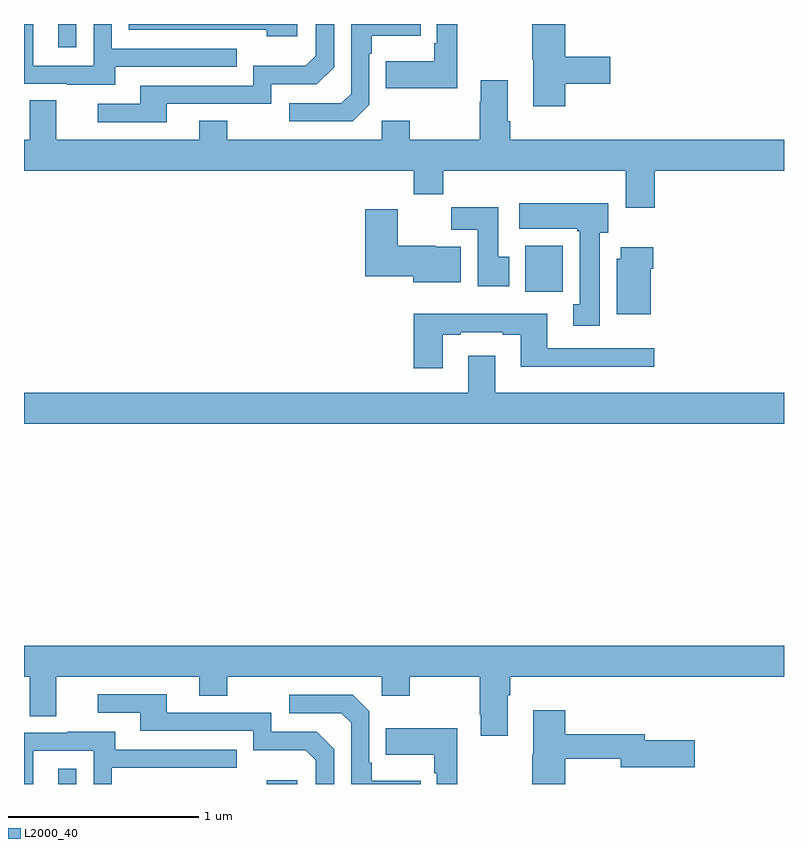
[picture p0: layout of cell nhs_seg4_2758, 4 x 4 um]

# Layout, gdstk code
import gdstk
lib = gdstk.Library(unit=1e-6, precision=1e-09)
def R(c, l, rs):  # rectangles x0, y0, x1, y1
    for r in rs: c.add(gdstk.rectangle(r[:2], r[2:], *l))
def P(c, l, *ps):  # polygons
    for p in ps: c.add(gdstk.Polygon(p, *l))
L2000_40 = (2000, 40)

nhs_seg4_2758 = lib.new_cell('nhs_seg4_2758')
R(nhs_seg4_2758, L2000_40, [(255.179,818.9,255.276,818.98), (256.277,818.9,256.438,818.92), (257.639,821.492,257.836,821.734), (255.179,822.777,255.276,822.9)])
P(nhs_seg4_2758, L2000_40, [(257.849,822.586),(258.085,822.586),(258.085,822.728),(257.849,822.728),(257.849,822.9),(257.674,822.9),(257.674,822.711),(257.681,822.711),(257.681,822.468),(257.849,822.468)],
  [(255.481,822.675),(256.121,822.675),(256.121,822.771),(255.462,822.771),(255.462,822.9),(255.366,822.9),(255.366,822.681),(255.048,822.681),(255.048,822.9),(255,822.9),(255,822.585),(255.227,822.585),(255.227,822.581),(255.481,822.581)],
  [(255.751,822.48),(256.302,822.48),(256.302,822.582),(256.542,822.582),(256.632,822.672),(256.632,822.9),(256.536,822.9),(256.536,822.732),(256.483,822.679),(256.206,822.679),(256.206,822.576),(255.611,822.576),(255.611,822.48),(255.387,822.48),(255.387,822.384),(255.751,822.384)],
  [(257.281,822.9),(257.172,822.9),(257.172,822.799),(257.16,822.799),(257.16,822.703),(256.903,822.703),(256.903,822.563),(257.281,822.563)],
  [(256.818,822.474),(256.818,822.743),(256.831,822.743),(256.831,822.839),(257.087,822.839),(257.087,822.9),(256.722,822.9),(256.722,822.534),(256.671,822.483),(256.395,822.483),(256.395,822.387),(256.731,822.387)],
  [(256.438,822.9),(255.552,822.9),(255.552,822.87),(256.277,822.87),(256.277,822.836),(256.438,822.836)],
  [(258.32,822.128),(259,822.128),(259,822.292),(257.558,822.292),(257.558,822.388),(257.545,822.388),(257.545,822.604),(257.405,822.604),(257.405,822.491),(257.398,822.491),(257.398,822.292),(257.031,822.292),(257.031,822.391),(256.884,822.391),(256.884,822.292),(256.071,822.292),(256.071,822.391),(255.923,822.391),(255.923,822.292),(255.169,822.292),(255.169,822.5),(255.029,822.5),(255.029,822.292),(255,822.292),(255,822.128),(257.051,822.128),(257.051,822.004),(257.207,822.004),(257.207,822.128),(258.167,822.128),(258.167,821.934),(258.32,821.934)],
  [(258.031,821.802),(258.076,821.802),(258.076,821.956),(257.607,821.956),(257.607,821.822),(257.911,821.822),(257.911,821.809),(257.924,821.809),(257.924,821.426),(257.891,821.426),(257.891,821.313),(258.031,821.313)],
  [(257.554,821.676),(257.497,821.676),(257.497,821.935),(257.248,821.935),(257.248,821.816),(257.387,821.816),(257.387,821.52),(257.554,821.52)],
  [(257.299,821.728),(257.166,821.728),(257.166,821.734),(256.966,821.734),(256.966,821.926),(256.796,821.926),(256.796,821.573),(257.048,821.573),(257.048,821.54),(257.299,821.54)],
  [(258.298,821.612),(258.311,821.612),(258.311,821.725),(258.14,821.725),(258.14,821.664),(258.119,821.664),(258.119,821.372),(258.298,821.372)],
  [(257.203,821.265),(257.299,821.265),(257.299,821.277),(257.519,821.277),(257.519,821.265),(257.615,821.265),(257.615,821.096),(258.316,821.096),(258.316,821.193),(257.755,821.193),(257.755,821.374),(257.051,821.374),(257.051,821.088),(257.203,821.088)],
  [(259,820.96),(257.479,820.96),(257.479,821.155),(257.339,821.155),(257.339,820.96),(255,820.96),(255,820.796),(259,820.796)],
  [(255,819.464),(255.029,819.464),(255.029,819.256),(255.169,819.256),(255.169,819.464),(255.923,819.464),(255.923,819.365),(256.071,819.365),(256.071,819.464),(256.884,819.464),(256.884,819.365),(257.031,819.365),(257.031,819.464),(257.398,819.464),(257.398,819.265),(257.405,819.265),(257.405,819.153),(257.545,819.153),(257.545,819.368),(257.558,819.368),(257.558,819.464),(259,819.464),(259,819.628),(255,819.628)],
  [(256.632,819.084),(256.542,819.174),(256.302,819.174),(256.302,819.276),(255.751,819.276),(255.751,819.372),(255.387,819.372),(255.387,819.276),(255.611,819.276),(255.611,819.18),(256.206,819.18),(256.206,819.077),(256.483,819.077),(256.536,819.024),(256.536,818.9),(256.632,818.9)],
  [(257.087,818.917),(256.831,818.917),(256.831,819.013),(256.818,819.013),(256.818,819.282),(256.731,819.369),(256.395,819.369),(256.395,819.273),(256.671,819.273),(256.722,819.222),(256.722,818.9),(257.087,818.9)],
  [(257.849,819.034),(258.14,819.034),(258.14,818.987),(258.529,818.987),(258.529,819.129),(258.268,819.129),(258.268,819.163),(257.849,819.163),(257.849,819.289),(257.681,819.289),(257.681,819.057),(257.674,819.057),(257.674,818.9),(257.849,818.9)],
  [(257.281,819.193),(256.903,819.193),(256.903,819.053),(257.16,819.053),(257.16,818.957),(257.172,818.957),(257.172,818.9),(257.281,818.9)],
  [(255.048,819.075),(255.366,819.075),(255.366,818.9),(255.462,818.9),(255.462,818.985),(256.121,818.985),(256.121,819.081),(255.481,819.081),(255.481,819.175),(255.227,819.175),(255.227,819.171),(255,819.171),(255,818.9),(255.048,818.9)])

lib.write_gds('nhs_seg4_2758.gds')
